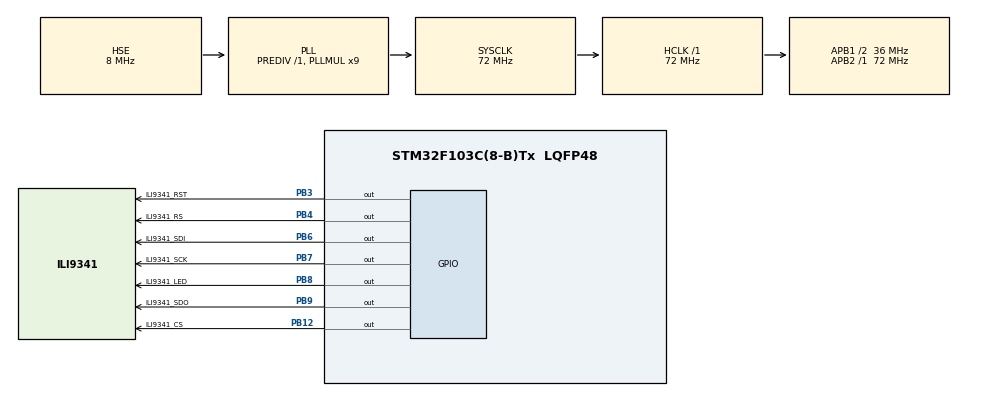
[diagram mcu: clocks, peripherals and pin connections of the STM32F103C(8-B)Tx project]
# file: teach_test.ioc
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Mcu.Family=STM32F1
Mcu.Name=STM32F103C(8-B)Tx
Mcu.Package=LQFP48
NVIC.PriorityGroup=NVIC_PRIORITYGROUP_4
PA13.Mode=Serial_Wire
PA13.Signal=SYS_JTMS-SWDIO
PA14.Mode=Serial_Wire
PA14.Signal=SYS_JTCK-SWCLK
PB12.GPIO_Label=ILI9341_CS
PB12.Signal=GPIO_Output
PB3.GPIO_Label=ILI9341_RST
PB3.Signal=GPIO_Output
PB4.GPIO_Label=ILI9341_RS
PB4.Signal=GPIO_Output
PB6.GPIO_Label=ILI9341_SDI
PB6.Signal=GPIO_Output
PB7.GPIO_Label=ILI9341_SCK
PB7.Signal=GPIO_Output
PB8.GPIO_Label=ILI9341_LED
PB8.Signal=GPIO_Output
PB9.GPIO_Label=ILI9341_SDO
PB9.Signal=GPIO_Output
PD0-OSC_IN.Mode=HSE-External-Oscillator
PD0-OSC_IN.Signal=RCC_OSC_IN
PD1-OSC_OUT.Mode=HSE-External-Oscillator
PD1-OSC_OUT.Signal=RCC_OSC_OUT
ProjectManager.HeapSize=0x200
ProjectManager.StackSize=0x400
ProjectManager.TargetToolchain=MDK-ARM V5.32
RCC.AHBFreq_Value=72000000
RCC.APB1CLKDivider=RCC_HCLK_DIV2
RCC.APB1Freq_Value=36000000
RCC.APB1TimFreq_Value=72000000
RCC.APB2Freq_Value=72000000
RCC.APB2TimFreq_Value=72000000
RCC.HCLKFreq_Value=72000000
RCC.PLLMUL=RCC_PLL_MUL9
RCC.PLLSourceVirtual=RCC_PLLSOURCE_HSE
RCC.SYSCLKFreq_VALUE=72000000
RCC.SYSCLKSource=RCC_SYSCLKSOURCE_PLLCLK
RCC.USBFreq_Value=72000000
board=custom

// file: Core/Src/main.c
/* USER CODE BEGIN Header */
/**
  ******************************************************************************
  * @file           : main.c
  * @brief          : Main program body
  ******************************************************************************
  * @attention
  *
  * Copyright (c) 2025 STMicroelectronics.
  * All rights reserved.
  *
  * This software is licensed under terms that can be found in the LICENSE file
  * in the root directory of this software component.
  * If no LICENSE file comes with this software, it is provided AS-IS.
  *
  ******************************************************************************
  */
/* USER CODE END Header */
#include "main.h"
#include "gpio.h"

/* USER CODE BEGIN Includes */
#include "ili9341_driver.h"
#include "OSC.h"
#include <stdbool.h>
/* USER CODE END Includes */

/* USER CODE BEGIN PV */
volatile bool isPlaying = false;
/* 测试使用的一个周期的正弦波 */
const uint16_t gOutputSignal[] = {2048, 2248, 2447, 2642, 2831, 3013,
    3185, 3347, 3496, 3631, 3750, 3854, 3940, 4007, 4056, 4086, 4095, 4086,
    4056, 4007, 3940, 3854, 3750, 3631, 3496, 3347, 3185, 3013, 2831, 2642,
    2447, 2248, 2048, 1847, 1648, 1453, 1264, 1082, 910, 748, 599, 464, 345,
    241, 155, 88, 39, 9, 0, 9, 39, 88, 155, 241, 345, 464, 599, 748, 910, 1082,
    1264, 1453, 1648, 1847};
/* USER CODE END PV */

void SystemClock_Config(void);

int main(void)
{

  /* MCU Configuration--------------------------------------------------------*/

  /* Reset of all peripherals, Initializes the Flash interface and the Systick. */
  HAL_Init();

  /* Configure the system clock */
  SystemClock_Config();

  /* Initialize all configured peripherals */
  MX_GPIO_Init();
  /* USER CODE BEGIN 2 */
  /*** 屏幕测试 ***/
  ILI9341_init(BLACK);

     /* OSC_Config的每项设置查看OSC_Config_TypeDef的定义位置，有注释 */
    OSC_Config_TypeDef OSC_Config;

    uint16_t ruler_y[5] = {1000, 2000, 3000, 4000, 0};
    uint16_t ruler_x[5] = {30, 50, 90, 0, 0};

    OSC_Config.x_origin = 10;
    OSC_Config.y_origin = 0;
    OSC_Config.x_width  = 200;
    OSC_Config.y_width  = 120;

    OSC_Config.display_num_min = 0;
    OSC_Config.display_num_max = 4095;

    OSC_Config.channel_num = 2;

    OSC_Config.is_display_ruler_y = true;
    OSC_Config.ruler_y = &ruler_y[0];
    OSC_Config.ruler_count_y = 4;
    OSC_Config.ruler_num_digits_y = 4;

    OSC_Config.is_display_ruler_x = true;
    OSC_Config.ruler_x = &ruler_x[0];
    OSC_Config.ruler_count_x = 3;
    OSC_Config.ruler_zero_value_x = 0;
    OSC_Config.ruler_full_value_x = 100;
    OSC_Config.ruler_num_digits_x = 8;

    OSC_Config.theme_type = OSC_THEME_DEFAULT;
    OSC_Config.is_auto_clear = true;

    OSC_Init(OSC_INST(0), &OSC_Config);
    OSC_ReDraw(OSC_INST(0));

    OSC_Config.x_origin = 0;
    OSC_Config.y_origin = 120;
    OSC_Config.theme_type = OSC_THEME_LIGHT;

    OSC_Init(OSC_INST(1), &OSC_Config);
    OSC_ReDraw(OSC_INST(1));

    int demo_signal_size = sizeof(gOutputSignal) / sizeof(gOutputSignal[0]);
    int num = 0;
    int num_1 = 32;
  /* USER CODE END 2 */

  /* Infinite loop */
  /* USER CODE BEGIN WHILE */
  while (1)
  {
        /* 查表输出 */
        OSC_CurveDraw(OSC_INST(0), gOutputSignal[num], gOutputSignal[num_1]);
        OSC_CurveDraw(OSC_INST(1), gOutputSignal[num_1], gOutputSignal[num]);
        HAL_Delay(10);
        num++;num_1++;
        if(num == demo_signal_size) {
            num = 0;
        }
        if(num_1 == demo_signal_size) {
            num_1 = 0;
        }
    /* USER CODE END WHILE */

  }
}

void SystemClock_Config(void)
{
  RCC_OscInitTypeDef RCC_OscInitStruct = {0};
  RCC_ClkInitTypeDef RCC_ClkInitStruct = {0};

  /** Initializes the RCC Oscillators according to the specified parameters
  * in the RCC_OscInitTypeDef structure.
  */
  RCC_OscInitStruct.OscillatorType = RCC_OSCILLATORTYPE_HSE;
  RCC_OscInitStruct.HSEState = RCC_HSE_ON;
  RCC_OscInitStruct.HSEPredivValue = RCC_HSE_PREDIV_DIV1;
  RCC_OscInitStruct.HSIState = RCC_HSI_ON;
  RCC_OscInitStruct.PLL.PLLState = RCC_PLL_ON;
  RCC_OscInitStruct.PLL.PLLSource = RCC_PLLSOURCE_HSE;
  RCC_OscInitStruct.PLL.PLLMUL = RCC_PLL_MUL9;
  if (HAL_RCC_OscConfig(&RCC_OscInitStruct) != HAL_OK)
  {
    Error_Handler();
  }

  /** Initializes the CPU, AHB and APB buses clocks
  */
  RCC_ClkInitStruct.ClockType = RCC_CLOCKTYPE_HCLK|RCC_CLOCKTYPE_SYSCLK
                              |RCC_CLOCKTYPE_PCLK1|RCC_CLOCKTYPE_PCLK2;
  RCC_ClkInitStruct.SYSCLKSource = RCC_SYSCLKSOURCE_PLLCLK;
  RCC_ClkInitStruct.AHBCLKDivider = RCC_SYSCLK_DIV1;
  RCC_ClkInitStruct.APB1CLKDivider = RCC_HCLK_DIV2;
  RCC_ClkInitStruct.APB2CLKDivider = RCC_HCLK_DIV1;

  if (HAL_RCC_ClockConfig(&RCC_ClkInitStruct, FLASH_LATENCY_2) != HAL_OK)
  {
    Error_Handler();
  }
}

void Error_Handler(void)
{
  __disable_irq();
  while (1)
  {
  }
}
